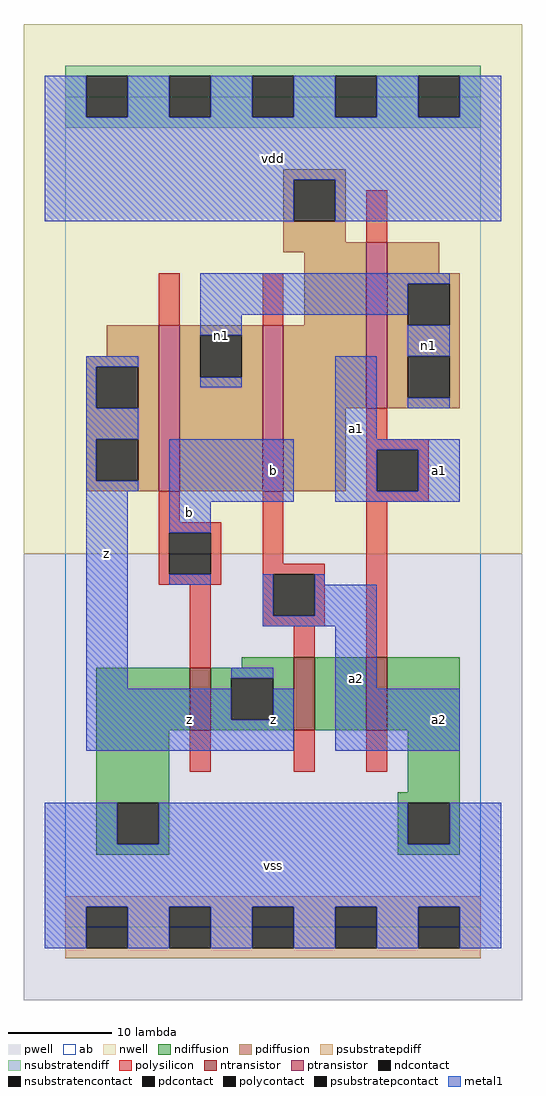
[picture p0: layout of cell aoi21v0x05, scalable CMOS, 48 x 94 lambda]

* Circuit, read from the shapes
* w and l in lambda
.subckt aoi21v0x05 a1 a2 b n1 vdd vss z
M1 z b vss vss nfet w=6 l=2
M2 n2 a2 z vss nfet w=7 l=2
M3 vss a1 n2 vss nfet w=7 l=2
M4 n1 b z vdd pfet w=16 l=2
M5 vdd a2 n1 vdd pfet w=16 l=2
M6 n1 a1 vdd vdd pfet w=16 l=2
.ends

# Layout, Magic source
magic
tech scmos
<< ab >>
rect 0 0 40 80
<< pwell >>
rect -4 -7 44 36
<< nwell >>
rect -4 36 44 87
<< polysilicon >>
rect 29 66 31 71
rect 9 58 11 63
rect 19 58 21 63
rect 29 47 31 50
rect 29 46 35 47
rect 29 42 30 46
rect 34 42 35 46
rect 9 39 11 42
rect 9 38 15 39
rect 9 34 10 38
rect 14 34 15 38
rect 9 33 15 34
rect 19 35 21 42
rect 29 41 35 42
rect 19 34 25 35
rect 12 25 14 33
rect 19 30 20 34
rect 24 30 25 34
rect 19 29 25 30
rect 22 26 24 29
rect 29 26 31 41
rect 12 15 14 19
rect 22 15 24 19
rect 29 15 31 19
<< ndiffusion >>
rect 17 25 22 26
rect 3 19 12 25
rect 14 24 22 25
rect 14 20 16 24
rect 20 20 22 24
rect 14 19 22 20
rect 24 19 29 26
rect 31 19 38 26
rect 3 12 10 19
rect 33 13 38 19
rect 3 8 5 12
rect 9 8 10 12
rect 3 7 10 8
rect 32 12 38 13
rect 32 8 33 12
rect 37 8 38 12
rect 32 7 38 8
<< pdiffusion >>
rect 21 72 27 73
rect 21 68 22 72
rect 26 68 27 72
rect 21 66 27 68
rect 21 65 29 66
rect 23 58 29 65
rect 4 55 9 58
rect 2 54 9 55
rect 2 50 3 54
rect 7 50 9 54
rect 2 47 9 50
rect 2 43 3 47
rect 7 43 9 47
rect 2 42 9 43
rect 11 57 19 58
rect 11 53 13 57
rect 17 53 19 57
rect 11 42 19 53
rect 21 50 29 58
rect 31 63 36 66
rect 31 62 38 63
rect 31 58 33 62
rect 37 58 38 62
rect 31 55 38 58
rect 31 51 33 55
rect 37 51 38 55
rect 31 50 38 51
rect 21 42 27 50
<< metal1 >>
rect -2 78 2 82
rect 6 78 10 82
rect 14 78 18 82
rect 22 78 26 82
rect 30 78 34 82
rect 38 78 42 82
rect -2 72 42 78
rect -2 68 22 72
rect 26 68 42 72
rect 13 62 37 63
rect 13 59 33 62
rect 13 57 17 59
rect 2 54 7 55
rect 2 50 3 54
rect 33 55 37 58
rect 13 52 17 53
rect 2 47 7 50
rect 26 47 30 55
rect 33 50 37 51
rect 2 43 3 47
rect 2 42 7 43
rect 2 23 6 42
rect 10 41 22 47
rect 26 46 38 47
rect 26 42 30 46
rect 34 42 38 46
rect 26 41 38 42
rect 10 38 14 41
rect 10 33 14 34
rect 19 30 20 34
rect 24 33 25 34
rect 24 30 30 33
rect 19 29 30 30
rect 16 24 20 25
rect 2 20 16 23
rect 26 23 30 29
rect 20 20 22 23
rect 2 17 22 20
rect 26 17 38 23
rect -2 8 5 12
rect 9 8 33 12
rect 37 8 42 12
rect -2 2 42 8
rect -2 -2 2 2
rect 6 -2 10 2
rect 14 -2 18 2
rect 22 -2 26 2
rect 30 -2 34 2
rect 38 -2 42 2
<< ntransistor >>
rect 12 19 14 25
rect 22 19 24 26
rect 29 19 31 26
<< ptransistor >>
rect 9 42 11 58
rect 19 42 21 58
rect 29 50 31 66
<< polycontact >>
rect 30 42 34 46
rect 10 34 14 38
rect 20 30 24 34
<< ndcontact >>
rect 16 20 20 24
rect 5 8 9 12
rect 33 8 37 12
<< pdcontact >>
rect 22 68 26 72
rect 3 50 7 54
rect 3 43 7 47
rect 13 53 17 57
rect 33 58 37 62
rect 33 51 37 55
<< psubstratepcontact >>
rect 2 -2 6 2
rect 10 -2 14 2
rect 18 -2 22 2
rect 26 -2 30 2
rect 34 -2 38 2
<< nsubstratencontact >>
rect 2 78 6 82
rect 10 78 14 82
rect 18 78 22 82
rect 26 78 30 82
rect 34 78 38 82
<< psubstratepdiff >>
rect 0 2 40 3
rect 0 -2 2 2
rect 6 -2 10 2
rect 14 -2 18 2
rect 22 -2 26 2
rect 30 -2 34 2
rect 38 -2 40 2
rect 0 -3 40 -2
<< nsubstratendiff >>
rect 0 82 40 83
rect 0 78 2 82
rect 6 78 10 82
rect 14 78 18 82
rect 22 78 26 82
rect 30 78 34 82
rect 38 78 40 82
rect 0 77 40 78
<< labels >>
rlabel metal1 4 36 4 36 6 z
rlabel metal1 12 20 12 20 6 z
rlabel metal1 12 40 12 40 6 b
rlabel metal1 15 57 15 57 6 n1
rlabel metal1 20 6 20 6 6 vss
rlabel metal1 20 20 20 20 6 z
rlabel metal1 28 24 28 24 6 a2
rlabel metal1 20 44 20 44 6 b
rlabel metal1 28 48 28 48 6 a1
rlabel metal1 20 74 20 74 6 vdd
rlabel metal1 36 20 36 20 6 a2
rlabel metal1 36 44 36 44 6 a1
rlabel metal1 35 56 35 56 6 n1
<< end >>
